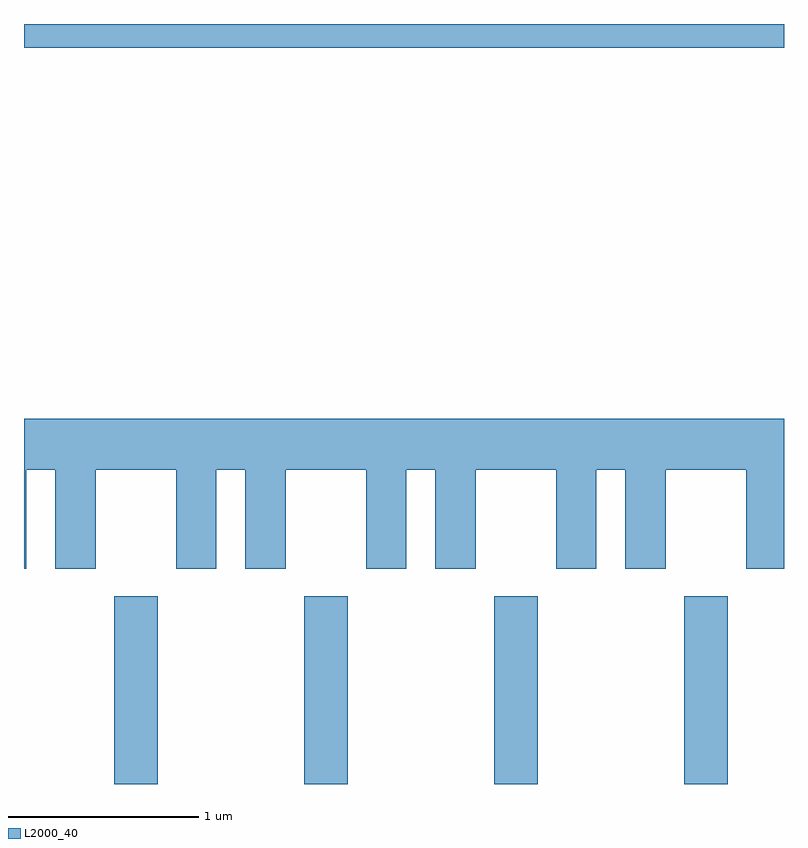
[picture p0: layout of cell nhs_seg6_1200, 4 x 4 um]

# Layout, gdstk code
import gdstk
lib = gdstk.Library(unit=1e-6, precision=1e-09)
def R(c, l, rs):  # rectangles x0, y0, x1, y1
    for r in rs: c.add(gdstk.rectangle(r[:2], r[2:], *l))
def A(c, l, x, y, w, h, nx, ny, dx, dy):  # array of equal rectangles
    R(c, l, [(x+i*dx, y+j*dy, x+i*dx+w, y+j*dy+h) for i in range(nx) for j in range(ny)])
def P(c, l, *ps):  # polygons
    for p in ps: c.add(gdstk.Polygon(p, *l))
L2000_40 = (2000, 40)

nhs_seg6_1200 = lib.new_cell('nhs_seg6_1200')
A(nhs_seg6_1200, L2000_40, 222.086, 1546.162, 0.228, 0.987, 4, 1, 1, 0)
R(nhs_seg6_1200, L2000_40, [(221.611,1550.036,225.611,1550.162)])
P(nhs_seg6_1200, L2000_40, [(221.624,1547.816),(221.776,1547.816),(221.776,1547.296),(221.989,1547.296),(221.989,1547.816),(222.411,1547.816),(222.411,1547.296),(222.624,1547.296),(222.624,1547.816),(222.776,1547.816),(222.776,1547.296),(222.989,1547.296),(222.989,1547.816),(223.411,1547.816),(223.411,1547.296),(223.624,1547.296),(223.624,1547.816),(223.776,1547.816),(223.776,1547.296),(223.989,1547.296),(223.989,1547.816),(224.411,1547.816),(224.411,1547.296),(224.624,1547.296),(224.624,1547.816),(224.776,1547.816),(224.776,1547.296),(224.989,1547.296),(224.989,1547.816),(225.411,1547.816),(225.411,1547.296),(225.611,1547.296),(225.611,1548.084),(221.611,1548.084),(221.611,1547.296),(221.624,1547.296)])

lib.write_gds('nhs_seg6_1200.gds')
